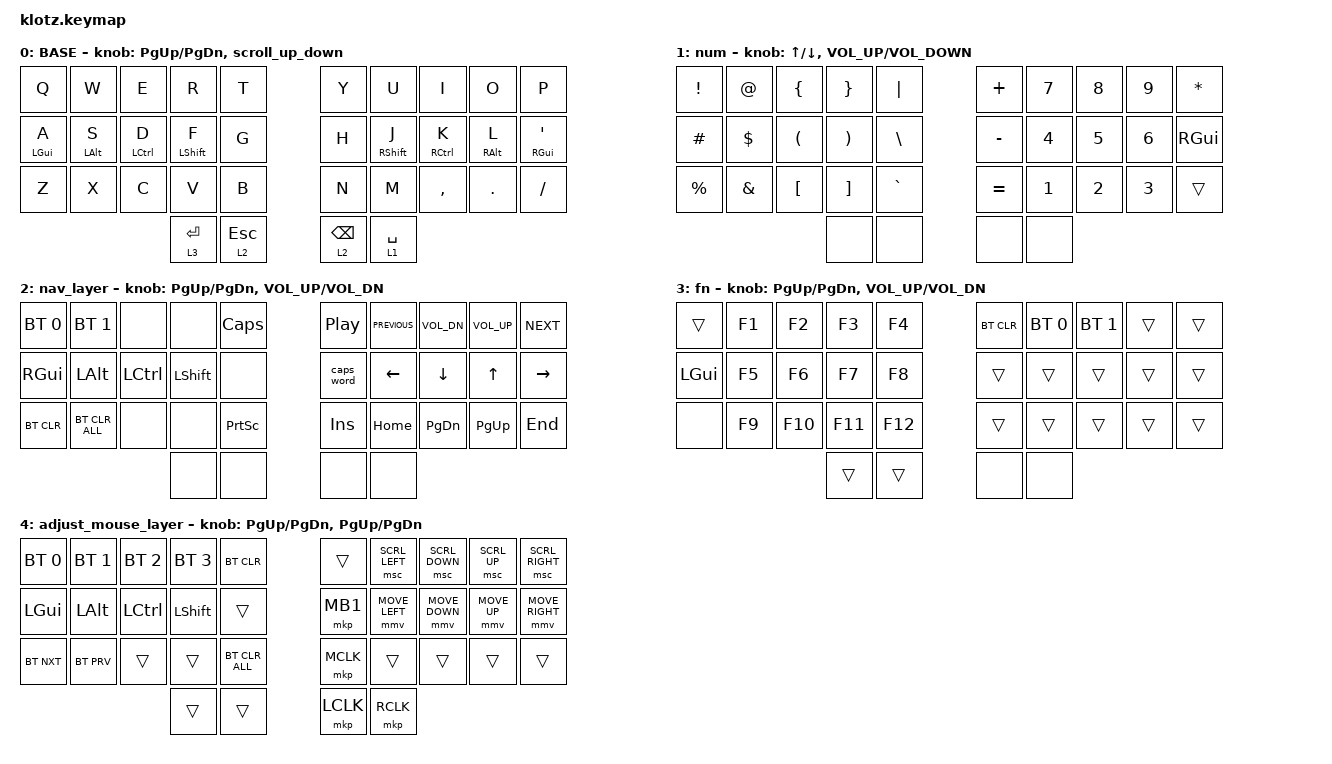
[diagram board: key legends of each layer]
//                                      █         ██        ▄▀▀▀▀▀▀▀▀▀▀█▀▀▀▀▀▀▀▀█▀▀▀▀▀▀▀▀▀▀█
//                                      █        █ █      ▄▀            ▀▄      █         █
//                                      █       █  █    ▄▀                ▀▄    █        █
//                                      █      █   █   █                    █   █       █
//                                      █     █    █   █                    █   █      █
//                                      █    █     █   █                    █   █  ▀▀▀█▀▀▀▀
//                                      █   █ █    █   █                    █   █    █
//                                      █  █   █   █   █                    █   █   █
//                                      █ █     █  █    ▀▄                ▄▀    █  █
//                                      ██       █ █      ▀▄            ▄▀      █ █
//                                      █         ██▄▄▄▄▄▄▄▄█▄▄▄▄▄▄▄▄▄▄▀        ██▄▄▄▄▄▄▄▄▄▄
//
// ▄▄▄▄▄▄▄▄▄▄▄▄▄▄▄▄▄▄▄▄▄▄▄▄▄▄▄▄▄▄▄▄▄▄▄▄▄▄▄▄▄▄▄▄▄▄▄▄▄▄▄▄▄▄▄▄▄▄▄▄▄▄▄▄▄▄▄▄▄▄▄▄▄▄▄▄▄▄▄▄▄▄▄▄▄▄▄▄▄▄▄▄▄▄▄▄▄▄▄▄▄▄▄▄▄▄▄▄▄▄▄▄▄▄▄▄▄▄▄▄▄▄▄▄▄

#include <behaviors.dtsi>
#include <dt-bindings/zmk/bt.h>
#include <dt-bindings/zmk/keys.h>
#include <dt-bindings/zmk/pointing.h>

#define ZMK_POINTING_DEFAULT_MOVE_VAL 2000  // default: 600
#define ZMK_POINTING_DEFAULT_SCRL_VAL 30   // default: 10
#define ZMK_MOUSE_SCRL_VAL 120
#define BASE 0
#define NAV  1
#define SYM  2
#define ADJ  3
#define JMP  4
#define OSL  5
#define COMBOMS 25

/ {
    combos {
        // BASE

        compatible = "zmk,combos";
        compatible = "zmk,combos";

        // GLOBAL

        compatible = "zmk,combos";
        compatible = "zmk,combos";
        compatible = "zmk,combos";
        compatible = "zmk,combos";
        compatible = "zmk,combos";

        combo_del {
            timeout-ms = <COMBOMS>;
            key-positions = <6 7>;
            bindings = <&kp DEL>;
        };

        compatible = "zmk,combos";
        compatible = "zmk,combos";
        compatible = "zmk,combos";
        compatible = "zmk,combos";
        compatible = "zmk,combos";
        compatible = "zmk,combos";
        compatible = "zmk,combos";
        compatible = "zmk,combos";
        compatible = "zmk,combos";

        combo_tab {
            bindings = <&kp TAB>;
            key-positions = <22 21>;
        };

        combo_tilde_caret {
            bindings = <&tilde_caret_morph>;
            key-positions = <18 19>;
        };

        combo_semicolon {
            bindings = <&kp SEMICOLON>;
            key-positions = <27 28>;
        };

        combo_caps_word {
            bindings = <&caps_word>;
            key-positions = <13 16>;
        };

        combo_underscore {
            bindings = <&kp UNDERSCORE>;
            key-positions = <23 26>;
        };

        combo_dash {
            bindings = <&kp MINUS>;
            key-positions = <3 6>;
        };
    };

    macros {
        macro_email: email {
            compatible = "zmk,behavior-macro";
            #binding-cells = <0>;
            bindings = <&kp I &kp A &kp G &kp O &kp T &kp I &kp T &kp O &kp AT &kp G &kp M &kp A &kp I &kp L &kp DOT &kp C &kp O &kp M>;
        };

        macro_name: macro_name {
            compatible = "zmk,behavior-macro";
            #binding-cells = <0>;
            bindings = <&kp LS(I) &kp A &kp G &kp O &kp SPACE &kp LS(T) &kp I &kp T &kp O &kp SPACE &kp LS(O) &kp L &kp I &kp V &kp E &kp I &kp R &kp A>;
        };

        macro_phone: macro_phone {
            compatible = "zmk,behavior-macro";
            #binding-cells = <0>;
            bindings = <&kp N8 &kp N3 &kp N9 &kp N9 &kp N8 &kp N8 &kp N0 &kp N0 &kp N2 &kp N2 &kp N2>;
        };
    };

    behaviors {
        skq: sticky_key_quick_release {
            compatible = "zmk,behavior-sticky-key";
            #binding-cells = <1>;
            bindings = <&kp>;
            release-after-ms = <2000>;
            quick-release;
            ignore-modifiers;
        };

        lhrm: left_home_row_mod {
            compatible = "zmk,behavior-hold-tap";
            bindings = <&kp>, <&kp>;

            #binding-cells = <2>;
            tapping-term-ms = <280>;
            quick-tap-ms = <200>;
            require-prior-idle-ms = <50>;
            flavor = "balanced";
            hold-trigger-key-positions = <5 6 7 8 9 15 16 17 18 19 25 26 27 28 29 32 33>;
            hold-trigger-on-release;
        };

        rhrm: right_home_row_mod {
            compatible = "zmk,behavior-hold-tap";
            bindings = <&kp>, <&kp>;

            #binding-cells = <2>;
            tapping-term-ms = <280>;
            quick-tap-ms = <200>;
            require-prior-idle-ms = <50>;
            flavor = "balanced";
            hold-trigger-on-release;
            hold-trigger-key-positions = <0 1 3 4 10 11 12 13 14 20 21 22 23 24 30 31 2>;
        };

        lhrs: left_home_row_shift {
            compatible = "zmk,behavior-hold-tap";
            bindings = <&kp>, <&kp>;

            #binding-cells = <2>;
            tapping-term-ms = <150>;
            quick-tap-ms = <200>;
            require-prior-idle-ms = <50>;
            flavor = "balanced";
            hold-trigger-key-positions = <5 6 7 8 9 15 16 17 18 19 25 26 27 28 29 32 33>;
        };

        rhrs: right_home_row_shift {
            compatible = "zmk,behavior-hold-tap";
            bindings = <&kp>, <&kp>;

            #binding-cells = <2>;
            tapping-term-ms = <150>;
            quick-tap-ms = <200>;
            require-prior-idle-ms = <50>;
            flavor = "balanced";
            hold-trigger-key-positions = <0 1 3 4 10 11 12 13 14 20 21 22 23 24 30 31 2>;
        };

        lkm: layer_key_mod {
            compatible = "zmk,behavior-hold-tap";
            bindings = <&mo>, <&kp>;

            #binding-cells = <2>;
            tapping-term-ms = <150>;
            quick-tap-ms = <200>;
            require-prior-idle-ms = <35>;
            flavor = "balanced";
            hold-trigger-key-positions = <0 1 3 4 10 11 12 13 14 20 21 22 23 24 2 5 6 7 8 9 15 16 17 18 19 25 26 27 28 29>;
        };

        tilde_caret_morph: tilde_caret_morph {
            compatible = "zmk,behavior-mod-morph";
            bindings = <&kp TILDE>, <&kp CARET>;

            #binding-cells = <0>;
            mods = <(MOD_LSFT|MOD_RSFT)>;
        };

        scroll_up_down: scroll_up_down {
            compatible = "zmk,behavior-sensor-rotate";
            #sensor-binding-cells = <0>;
            bindings = <&msc SCRL_UP>, <&msc SCRL_DOWN>;

            tap-ms = <80>;
        };
    };

    keymap {
        compatible = "zmk,keymap";

        // ▄▄▄▄▄▄▄▄▄▄▄▄▄▄▄▄▄▄▄▄▄▄▄▄▄▄▄▄▄▄▄▄▄▄▄▄▄▄▄▄▄▄▄▄▄▄▄▄▄▄▄▄▄▄▄▄▄▄▄▄▄▄▄▄▄▄▄▄▄▄▄▄▄▄▄▄▄▄▄▄▄▄▄▄▄▄▄▄▄▄▄▄▄▄▄▄▄▄▄▄▄▄▄▄▄▄▄▄▄▄▄▄▄▄▄▄▄▄▄▄▄▄▄▄▄

        base_layer {
            // ┏━━━━━━━━━━━━━━━━━━━━━━━━━━━━━━━━━━━━━━━┓

            display-name = "BASE";

            // ┗━━━━━━━━━━━━━━━━━━━━━━━━━━━━━━━━━━━━━━━┛

            bindings = <
&kp Q         &kp W         &kp E          &kp R           &kp T         &kp Y             &kp U           &kp I          &kp O         &kp P
&lhrm LGUI A  &lhrm LALT S  &lhrm LCTRL D  &lhrs LSHIFT F  &kp G         &kp H             &rhrs RSHIFT J  &rhrm RCTRL K  &rhrm RALT L  &rhrm RGUI APOS
&kp Z         &kp X         &kp C          &kp V           &kp B         &kp N             &kp M           &kp COMMA      &kp DOT       &kp FSLH
                                           &lt 3 RETURN    &lt 2 ESCAPE  &lkm 2 BACKSPACE  &lt 1 SPACE
            >;

            sensor-bindings = <&inc_dec_kp PG_UP PAGE_DOWN>, <&scroll_up_down>;
        };

        num_layer {
            // ┏━━━━━━━━━━━━━━━━━━━━━━━━━━━━━━━━━━━━━━━┓

            display-name = "num";

            // ┗━━━━━━━━━━━━━━━━━━━━━━━━━━━━━━━━━━━━━━━┛

            bindings = <
&kp EXCLAMATION  &kp AT_SIGN    &kp LEFT_BRACE        &kp RIGHT_BRACE        &kp PIPE       &kp PLUS   &kp N7  &kp N8  &kp N9  &kp ASTERISK
&kp HASH         &kp DOLLAR     &kp LEFT_PARENTHESIS  &kp RIGHT_PARENTHESIS  &kp BACKSLASH  &kp MINUS  &kp N4  &kp N5  &kp N6  &kp RIGHT_GUI
&kp PERCENT      &kp AMPERSAND  &kp LEFT_BRACKET      &kp RIGHT_BRACKET      &kp GRAVE      &kp EQUAL  &kp N1  &kp N2  &kp N3  &trans
                                                      &none                  &none          &none      &none
            >;

            sensor-bindings =
                <&inc_dec_kp UP_ARROW DOWN_ARROW>,
                <&inc_dec_kp C_VOLUME_UP C_VOLUME_DOWN>;
        };

        nav_layer {
            bindings = <
&bt BT_SEL 0  &bt BT_SEL 1    &none      &none      &kp CAPSLOCK     &kp C_PLAY_PAUSE  &kp C_PREVIOUS  &kp C_VOL_DN    &kp C_VOLUME_UP  &kp C_NEXT
&kp RGUI      &kp LALT        &kp LCTRL  &kp LSHFT  &none            &caps_word        &kp LEFT_ARROW  &kp DOWN_ARROW  &kp UP_ARROW     &kp RIGHT_ARROW
&bt BT_CLR    &bt BT_CLR_ALL  &none      &none      &kp PRINTSCREEN  &kp INSERT        &kp HOME        &kp PAGE_DOWN   &kp PG_UP        &kp END
                                         &none      &none            &none             &none
            >;

            sensor-bindings =
                <&inc_dec_kp PG_UP PAGE_DOWN>,
                <&inc_dec_kp C_VOLUME_UP C_VOL_DN>;
        };

        fn_layer {
            // ┏━━━━━━━━━━━━━━━━━━━━━━━━━━━━━━━━━━━━━━━┓

            display-name = "fn";

            // ┗━━━━━━━━━━━━━━━━━━━━━━━━━━━━━━━━━━━━━━━┛

            bindings = <
&trans        &kp F1  &kp F2   &kp F3   &kp F4   &bt BT_CLR  &bt BT_SEL 0  &bt BT_SEL 1  &trans  &trans
&kp LEFT_GUI  &kp F5  &kp F6   &kp F7   &kp F8   &trans      &trans        &trans        &trans  &trans
&none         &kp F9  &kp F10  &kp F11  &kp F12  &trans      &trans        &trans        &trans  &trans
                               &trans   &trans   &none       &none
            >;

            sensor-bindings =
                <&inc_dec_kp PG_UP PAGE_DOWN>,
                <&inc_dec_kp C_VOL_UP C_VOL_DN>;
        };

        adjust_mouse_layer {
            bindings = <
&bt BT_SEL 0  &bt BT_SEL 1  &bt BT_SEL 2  &bt BT_SEL 3  &bt BT_CLR      &trans     &msc SCRL_LEFT  &msc SCRL_DOWN  &msc SCRL_UP  &msc SCRL_RIGHT
&kp LGUI      &kp LALT      &kp LCTRL     &kp LSHFT     &trans          &mkp MB1   &mmv MOVE_LEFT  &mmv MOVE_DOWN  &mmv MOVE_UP  &mmv MOVE_RIGHT
&bt BT_NXT    &bt BT_PRV    &trans        &trans        &bt BT_CLR_ALL  &mkp MCLK  &trans          &trans          &trans        &trans
                                          &trans        &trans          &mkp LCLK  &mkp RCLK
            >;

            sensor-bindings =
                <&inc_dec_kp PG_UP PAGE_DOWN>,
                <&inc_dec_kp PAGE_UP PAGE_DOWN>;
        };
    };
};
